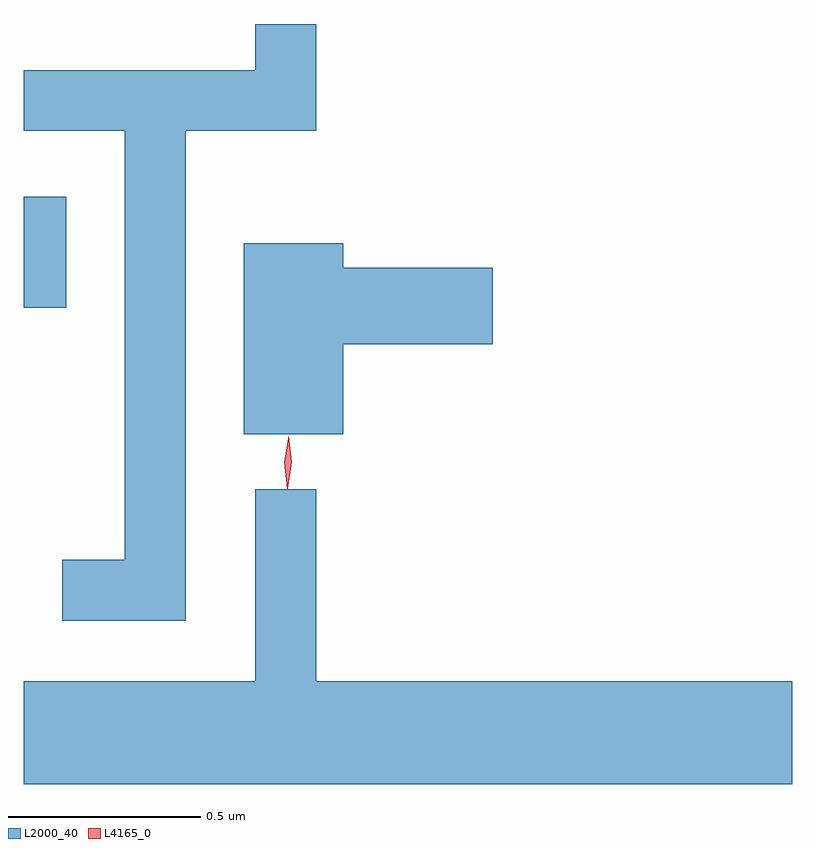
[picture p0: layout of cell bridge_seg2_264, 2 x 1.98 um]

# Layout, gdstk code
import gdstk
lib = gdstk.Library(unit=1e-6, precision=1e-09)
def R(c, l, rs):  # rectangles x0, y0, x1, y1
    for r in rs: c.add(gdstk.rectangle(r[:2], r[2:], *l))
def P(c, l, *ps):  # polygons
    for p in ps: c.add(gdstk.Polygon(p, *l))
L2000_40 = (2000, 40)
L4165_0 = (4165, 0)

bridge_seg2_264 = lib.new_cell('bridge_seg2_264')
R(bridge_seg2_264, L2000_40, [(489.953,1058.436,490.064,1058.724)])
P(bridge_seg2_264, L2000_40, [(490.374,1058.896),(490.714,1058.896),(490.714,1059.174),(490.556,1059.174),(490.556,1059.054),(489.953,1059.054),(489.953,1058.896),(490.216,1058.896),(490.216,1057.779),(490.053,1057.779),(490.053,1057.621),(490.374,1057.621)],
  [(490.784,1058.341),(491.174,1058.341),(491.174,1058.539),(490.784,1058.539),(490.784,1058.604),(490.526,1058.604),(490.526,1058.106),(490.784,1058.106)],
  [(491.953,1057.464),(490.714,1057.464),(490.714,1057.963),(490.556,1057.963),(490.556,1057.464),(489.953,1057.464),(489.953,1057.196),(491.953,1057.196)])
P(bridge_seg2_264, L4165_0, [(490.639,1057.968),(490.631,1058.034),(490.642,1058.099),(490.642,1058.1),(490.643,1058.099),(490.651,1058.033),(490.64,1057.968),(490.64,1057.968)],
  [(490.639,1057.965),(490.631,1058.034),(490.642,1058.102),(490.642,1058.102),(490.643,1058.102),(490.651,1058.033),(490.64,1057.965),(490.64,1057.965)])

lib.write_gds('bridge_seg2_264.gds')
